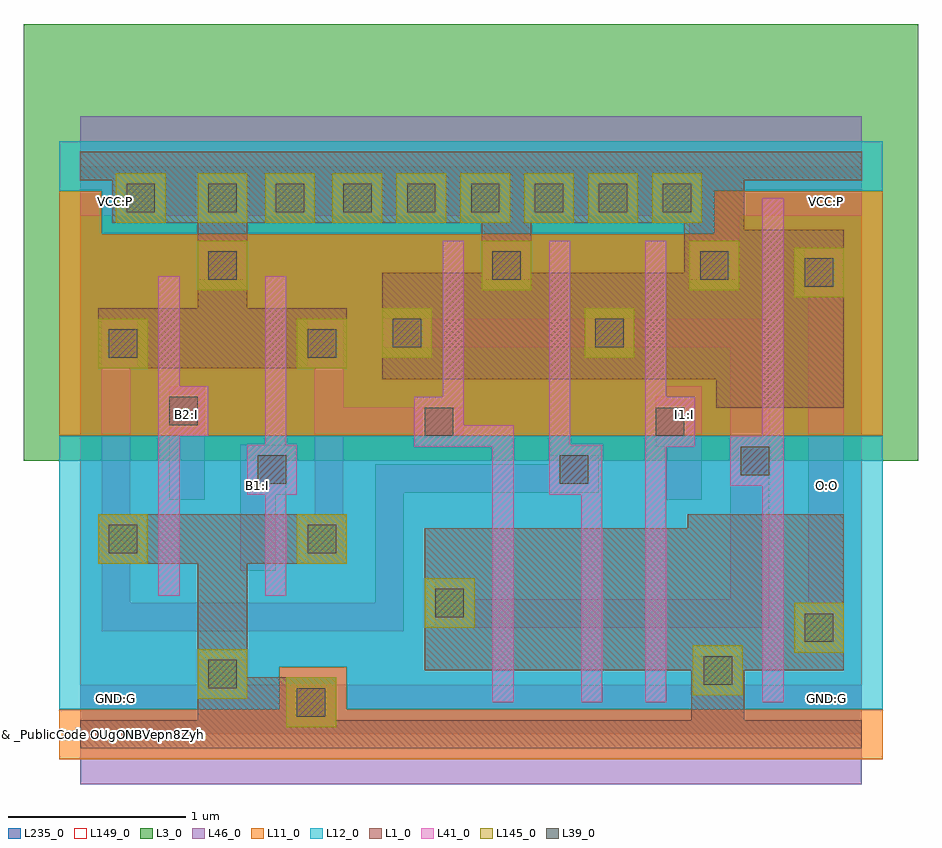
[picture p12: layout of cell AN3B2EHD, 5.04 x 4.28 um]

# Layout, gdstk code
from math import pi, radians
import gdstk
lib = gdstk.Library(unit=1e-6, precision=1e-09)
def R(c, l, rs):  # rectangles x0, y0, x1, y1
    for r in rs: c.add(gdstk.rectangle(r[:2], r[2:], *l))
def P(c, l, *ps):  # polygons
    for p in ps: c.add(gdstk.Polygon(p, *l))
L1_0 = (1, 0)
L3_0 = (3, 0)
L11_0 = (11, 0)
L12_0 = (12, 0)
L39_0 = (39, 0)
L41_0 = (41, 0)
L46_0 = (46, 0)
L145_0 = (145, 0)
L149_0 = (149, 0)
L235_0 = (235, 0)

c_pc = lib.new_cell('PC')
R(c_pc, L39_0, [(-0.08,-0.08,0.08,0.08)])
R(c_pc, L41_0, [(-0.14,-0.14,0.14,0.14)])
R(c_pc, L46_0, [(-0.08,-0.14,0.08,0.14)])

c_mc = lib.new_cell('MC')
R(c_mc, L39_0, [(-0.08,-0.08,0.08,0.08)])
R(c_mc, L46_0, [(-0.08,-0.14,0.08,0.14)])
R(c_mc, L145_0, [(-0.14,-0.14,0.14,0.14)])

khlenmfncog__41gum4xw0 = lib.new_cell('KHLENMFNCOG$$41Gum4XW0')
R(khlenmfncog__41gum4xw0, L1_0, [(0,-0.08,4.4,0.08), (0.94,0.08,1.44,0.32), (1.7,2,2.26,2.6), (0,3.12,4.4,3.28)])
P(khlenmfncog__41gum4xw0, L1_0, [(1.5,1.24),(0.66,1.24),(0.66,0.08),(0.94,0.08),(0.94,0.96),(1.5,0.96)],
  [(0.94,3.12),(0.66,3.12),(0.66,2.06),(1.5,2.06),(1.5,2.4),(0.94,2.4)],
  [(0.1,1.24),(0.94,1.24),(0.94,0.08),(0.66,0.08),(0.66,0.96),(0.1,0.96)],
  [(0.66,3.12),(0.94,3.12),(0.94,2.06),(0.1,2.06),(0.1,2.4),(0.66,2.4)],
  [(4.3,1.24),(3.42,1.24),(3.42,1.16),(1.94,1.16),(1.94,0.36),(3.44,0.36),(3.44,0.08),(3.74,0.08),(3.74,0.36),(4.3,0.36)],
  [(4.3,2.84),(3.74,2.84),(3.74,3.12),(3.4,3.12),(3.4,2.6),(2.54,2.6),(2.54,2.88),(3.4,2.88),(3.4,3.12),(0.18,3.12),(0.18,2.88),(2.26,2.88),(2.26,2),(3.58,2),(3.58,1.84),(4.3,1.84)])
R(khlenmfncog__41gum4xw0, L3_0, [(-0.32,1.54,4.72,4)])
R(khlenmfncog__41gum4xw0, L11_0, [(-0.12,-0.14,4.52,0.14), (-0.12,-0.14,4.52,0.14), (-0.12,-0.14,4.52,0.14), (1.12,0.14,1.5,0.38)])
P(khlenmfncog__41gum4xw0, L11_0, [(4.52,3.06),(3.57,3.06),(3.57,2.82),(0.12,2.82),(0.12,3.06),(-0.12,3.06),(-0.12,1.68),(4.52,1.68)])
P(khlenmfncog__41gum4xw0, L12_0, [(4.52,1.68),(-0.12,1.68),(-0.12,0.14),(1.12,0.14),(1.12,0.38),(1.5,0.38),(1.5,0.14),(4.52,0.14)],
  [(4.52,3.34),(-0.12,3.34),(-0.12,3.06),(0.12,3.06),(0.12,2.82),(3.57,2.82),(3.57,3.06),(4.52,3.06)])
R(khlenmfncog__41gum4xw0, L46_0, [(2,0.6,2.22,0.88), (3.66,0.76,3.8,2.18), (0.66,2.56,0.94,2.92), (2.26,2.56,2.54,2.92), (3.43,2.56,3.71,2.92)])
R(khlenmfncog__41gum4xw0, L149_0, [(0,0,4.4,3.2)])
R(khlenmfncog__41gum4xw0, L235_0, [(0,0,4.4,3.2), (0,0,4.4,3.2), (0,0,4.4,3.2), (0,0,4.4,3.2), (0,0,4.4,3.2), (0,0,4.4,3.2), (0,0,4.4,3.2), (0,0,4.4,3.2), (0,0,4.4,3.2), (0,0,4.4,3.2), (0,0,4.4,3.2), (0,0,4.4,3.2)])
khlenmfncog__41gum4xw0.add(gdstk.FlexPath([(0,0),(4.4,0)], 0.56, ends="flush", simple_path=True, layer=46, datatype=0))  # L46_0
khlenmfncog__41gum4xw0.add(gdstk.FlexPath([(0,3.2),(4.4,3.2)], 0.56, ends="flush", simple_path=True, layer=46, datatype=0))  # L46_0
khlenmfncog__41gum4xw0.add(gdstk.FlexPath([(2.92,1.44),(1.74,1.44),(1.74,0.66),(0.2,0.66),(0.2,1.24)], 0.16, ends="flush", simple_path=True, layer=46, datatype=0))  # L46_0
khlenmfncog__41gum4xw0.add(gdstk.FlexPath([(1,0.92),(1,1.63)], 0.2, ends="flush", simple_path=True, layer=46, datatype=0))  # L46_0
khlenmfncog__41gum4xw0.add(gdstk.FlexPath([(1.4,0.96),(1.4,2.34)], 0.16, ends="flush", simple_path=True, layer=46, datatype=0))  # L46_0
khlenmfncog__41gum4xw0.add(gdstk.FlexPath([(0.2,0.96),(0.2,2.34)], 0.16, ends="flush", simple_path=True, layer=46, datatype=0))  # L46_0
khlenmfncog__41gum4xw0.add(gdstk.FlexPath([(3.4,1.32),(3.4,1.96)], 0.2, ends="flush", simple_path=True, layer=46, datatype=0))  # L46_0
khlenmfncog__41gum4xw0.add(gdstk.FlexPath([(1.32,1.76),(2.16,1.76)], 0.16, ends="flush", simple_path=True, layer=46, datatype=0))  # L46_0
khlenmfncog__41gum4xw0.add(gdstk.FlexPath([(4.2,0.46),(4.2,2.74)], 0.2, ends="flush", simple_path=True, layer=46, datatype=0))  # L46_0
khlenmfncog__41gum4xw0.add(gdstk.FlexPath([(0.6,1.32),(0.6,1.96)], 0.2, ends="flush", simple_path=True, layer=46, datatype=0))  # L46_0
khlenmfncog__41gum4xw0.add(gdstk.FlexPath([(1.7,2.26),(3.8,2.26),(3.8,0.68),(2,0.68)], 0.16, ends="flush", simple_path=True, layer=46, datatype=0))  # L46_0
khlenmfncog__41gum4xw0.add(gdstk.FlexPath([(0.6,0),(0.6,3.2)], 0, ends="flush", simple_path=True, layer=145, datatype=0))  # L145_0
khlenmfncog__41gum4xw0.add(gdstk.FlexPath([(1,0),(1,3.2)], 0, ends="flush", simple_path=True, layer=145, datatype=0))  # L145_0
khlenmfncog__41gum4xw0.add(gdstk.FlexPath([(1.4,0),(1.4,3.2)], 0, ends="flush", simple_path=True, layer=145, datatype=0))  # L145_0
khlenmfncog__41gum4xw0.add(gdstk.FlexPath([(1.8,0),(1.8,3.2)], 0, ends="flush", simple_path=True, layer=145, datatype=0))  # L145_0
khlenmfncog__41gum4xw0.add(gdstk.FlexPath([(2.2,0),(2.2,3.2)], 0, ends="flush", simple_path=True, layer=145, datatype=0))  # L145_0
khlenmfncog__41gum4xw0.add(gdstk.FlexPath([(2.6,0),(2.6,3.2)], 0, ends="flush", simple_path=True, layer=145, datatype=0))  # L145_0
khlenmfncog__41gum4xw0.add(gdstk.FlexPath([(3,0),(3,3.2)], 0, ends="flush", simple_path=True, layer=145, datatype=0))  # L145_0
khlenmfncog__41gum4xw0.add(gdstk.FlexPath([(3.4,0),(3.4,3.2)], 0, ends="flush", simple_path=True, layer=145, datatype=0))  # L145_0
khlenmfncog__41gum4xw0.add(gdstk.FlexPath([(3.8,0),(3.8,3.2)], 0, ends="flush", simple_path=True, layer=145, datatype=0))  # L145_0
khlenmfncog__41gum4xw0.add(gdstk.FlexPath([(4.2,0),(4.2,3.2)], 0, ends="flush", simple_path=True, layer=145, datatype=0))  # L145_0
khlenmfncog__41gum4xw0.add(gdstk.FlexPath([(0,0.2),(4.4,0.2)], 0, ends="flush", simple_path=True, layer=145, datatype=0))  # L145_0
khlenmfncog__41gum4xw0.add(gdstk.FlexPath([(0,0.6),(4.4,0.6)], 0, ends="flush", simple_path=True, layer=145, datatype=0))  # L145_0
khlenmfncog__41gum4xw0.add(gdstk.FlexPath([(0,1),(4.4,1)], 0, ends="flush", simple_path=True, layer=145, datatype=0))  # L145_0
khlenmfncog__41gum4xw0.add(gdstk.FlexPath([(0,1.4),(4.4,1.4)], 0, ends="flush", simple_path=True, layer=145, datatype=0))  # L145_0
khlenmfncog__41gum4xw0.add(gdstk.FlexPath([(0,1.8),(4.4,1.8)], 0, ends="flush", simple_path=True, layer=145, datatype=0))  # L145_0
khlenmfncog__41gum4xw0.add(gdstk.FlexPath([(0,2.2),(4.4,2.2)], 0, ends="flush", simple_path=True, layer=145, datatype=0))  # L145_0
khlenmfncog__41gum4xw0.add(gdstk.FlexPath([(0,2.6),(4.4,2.6)], 0, ends="flush", simple_path=True, layer=145, datatype=0))  # L145_0
khlenmfncog__41gum4xw0.add(gdstk.FlexPath([(0,3),(4.4,3)], 0, ends="flush", simple_path=True, layer=145, datatype=0))  # L145_0
khlenmfncog__41gum4xw0.add(gdstk.FlexPath([(0.2,0),(0.2,3.2)], 0, ends="flush", simple_path=True, layer=145, datatype=0))  # L145_0
khlenmfncog__41gum4xw0.add(gdstk.FlexPath([(3.24,0.18),(3.24,2.78)], 0.12, ends="flush", simple_path=True, layer=41, datatype=0))  # L41_0
khlenmfncog__41gum4xw0.add(gdstk.FlexPath([(1.1,0.78),(1.1,2.58)], 0.12, ends="flush", simple_path=True, layer=41, datatype=0))  # L41_0
khlenmfncog__41gum4xw0.add(gdstk.FlexPath([(2.7,2.78),(2.7,1.57),(2.88,1.57),(2.88,0.18)], 0.12, ends="flush", simple_path=True, layer=41, datatype=0))  # L41_0
khlenmfncog__41gum4xw0.add(gdstk.FlexPath([(2.1,2.78),(2.1,1.68),(2.38,1.68),(2.38,0.18)], 0.12, ends="flush", simple_path=True, layer=41, datatype=0))  # L41_0
khlenmfncog__41gum4xw0.add(gdstk.FlexPath([(0.5,0.78),(0.5,2.58)], 0.12, ends="flush", simple_path=True, layer=41, datatype=0))  # L41_0
khlenmfncog__41gum4xw0.add(gdstk.FlexPath([(3.9,0.18),(3.9,3.02)], 0.12, ends="flush", simple_path=True, layer=41, datatype=0))  # L41_0
r = gdstk.Reference(c_pc, (2.78,1.49), rotation=pi/2); r.repetition = gdstk.Repetition(1, 1, v1=(0,0.28), v2=(-0.32,0)); khlenmfncog__41gum4xw0.add(r)
r = gdstk.Reference(c_pc, (3.8,1.54)); r.repetition = gdstk.Repetition(1, 1, v1=(0.28,0), v2=(0,0.32)); khlenmfncog__41gum4xw0.add(r)
r = gdstk.Reference(c_pc, (0.58,1.82)); r.repetition = gdstk.Repetition(1, 1, v1=(0.28,0), v2=(0,0.32)); khlenmfncog__41gum4xw0.add(r)
r = gdstk.Reference(c_pc, (2.02,1.76), rotation=pi/2); r.repetition = gdstk.Repetition(1, 1, v1=(0,0.28), v2=(-0.32,0)); khlenmfncog__41gum4xw0.add(r)
r = gdstk.Reference(c_pc, (1.08,1.49)); r.repetition = gdstk.Repetition(1, 1, v1=(0.28,0), v2=(0,0.32)); khlenmfncog__41gum4xw0.add(r)
r = gdstk.Reference(c_pc, (3.32,1.76)); r.repetition = gdstk.Repetition(1, 1, v1=(0.28,0), v2=(0,0.32)); khlenmfncog__41gum4xw0.add(r)
r = gdstk.Reference(c_mc, (4.16,2.6)); r.repetition = gdstk.Repetition(1, 1, v1=(0.28,0), v2=(0,0.32)); khlenmfncog__41gum4xw0.add(r)
r = gdstk.Reference(c_mc, (3,3.02), rotation=pi/2); r.repetition = gdstk.Repetition(1, 1, v1=(0,0.28), v2=(-0.32,0)); khlenmfncog__41gum4xw0.add(r)
r = gdstk.Reference(c_mc, (2.08,0.74)); r.repetition = gdstk.Repetition(1, 1, v1=(0.28,0), v2=(0,0.32)); khlenmfncog__41gum4xw0.add(r)
r = gdstk.Reference(c_mc, (4.16,0.6)); r.repetition = gdstk.Repetition(1, 1, v1=(0.28,0), v2=(0,0.32)); khlenmfncog__41gum4xw0.add(r)
r = gdstk.Reference(c_mc, (3.59,0.36), rotation=pi/2); r.repetition = gdstk.Repetition(1, 1, v1=(0,0.28), v2=(-0.32,0)); khlenmfncog__41gum4xw0.add(r)
r = gdstk.Reference(c_mc, (3.57,2.64), rotation=pi/2); r.repetition = gdstk.Repetition(1, 1, v1=(0,0.28), v2=(-0.32,0)); khlenmfncog__41gum4xw0.add(r)
r = gdstk.Reference(c_mc, (1.84,2.26), rotation=pi/2); r.repetition = gdstk.Repetition(1, 1, v1=(0,0.28), v2=(-0.32,0)); khlenmfncog__41gum4xw0.add(r)
r = gdstk.Reference(c_mc, (2.4,2.64), rotation=pi/2); r.repetition = gdstk.Repetition(1, 1, v1=(0,0.28), v2=(-0.32,0)); khlenmfncog__41gum4xw0.add(r)
r = gdstk.Reference(c_mc, (1.92,3.02), rotation=pi/2); r.repetition = gdstk.Repetition(1, 1, v1=(0,0.28), v2=(-0.32,0)); khlenmfncog__41gum4xw0.add(r)
r = gdstk.Reference(c_mc, (0.24,2.2), rotation=pi, x_reflection=True); r.repetition = gdstk.Repetition(1, 1, v1=(-0.28,0), v2=(0,0.32)); khlenmfncog__41gum4xw0.add(r)
r = gdstk.Reference(c_mc, (3.36,3.02), rotation=pi/2); r.repetition = gdstk.Repetition(1, 1, v1=(0,0.28), v2=(-0.32,0)); khlenmfncog__41gum4xw0.add(r)
r = gdstk.Reference(c_mc, (2.64,3.02), rotation=pi/2); r.repetition = gdstk.Repetition(1, 1, v1=(0,0.28), v2=(-0.32,0)); khlenmfncog__41gum4xw0.add(r)
r = gdstk.Reference(c_mc, (0.24,1.1), rotation=pi, x_reflection=True); r.repetition = gdstk.Repetition(1, 1, v1=(-0.28,0), v2=(0,0.32)); khlenmfncog__41gum4xw0.add(r)
r = gdstk.Reference(c_mc, (2.28,3.02), rotation=pi/2); r.repetition = gdstk.Repetition(1, 1, v1=(0,0.28), v2=(-0.32,0)); khlenmfncog__41gum4xw0.add(r)
r = gdstk.Reference(c_mc, (0.34,3.02), rotation=pi/2); r.repetition = gdstk.Repetition(1, 1, v1=(0,0.28), v2=(-0.32,0)); khlenmfncog__41gum4xw0.add(r)
r = gdstk.Reference(c_mc, (1.18,3.02), rotation=pi/2); r.repetition = gdstk.Repetition(1, 1, v1=(0,0.28), v2=(-0.32,0)); khlenmfncog__41gum4xw0.add(r)
r = gdstk.Reference(c_mc, (1.36,1.1)); r.repetition = gdstk.Repetition(1, 1, v1=(0.28,0), v2=(0,0.32)); khlenmfncog__41gum4xw0.add(r)
r = gdstk.Reference(c_mc, (1.36,2.2)); r.repetition = gdstk.Repetition(1, 1, v1=(0.28,0), v2=(0,0.32)); khlenmfncog__41gum4xw0.add(r)
r = gdstk.Reference(c_mc, (0.8,3.02), rotation=pi/2); r.repetition = gdstk.Repetition(1, 1, v1=(0,0.28), v2=(-0.32,0)); khlenmfncog__41gum4xw0.add(r)
r = gdstk.Reference(c_mc, (0.8,2.64), rotation=pi/2); r.repetition = gdstk.Repetition(1, 1, v1=(0,0.28), v2=(-0.32,0)); khlenmfncog__41gum4xw0.add(r)
r = gdstk.Reference(c_mc, (0.8,0.34), rotation=pi/2); r.repetition = gdstk.Repetition(1, 1, v1=(0,0.28), v2=(-0.32,0)); khlenmfncog__41gum4xw0.add(r)
r = gdstk.Reference(c_mc, (1.3,0.18), rotation=pi/2); r.repetition = gdstk.Repetition(1, 1, v1=(0,0.28), v2=(-0.32,0)); khlenmfncog__41gum4xw0.add(r)
r = gdstk.Reference(c_mc, (1.56,3.02), rotation=pi/2); r.repetition = gdstk.Repetition(1, 1, v1=(0,0.28), v2=(-0.32,0)); khlenmfncog__41gum4xw0.add(r)
r = gdstk.Reference(c_mc, (2.98,2.26), rotation=pi/2); r.repetition = gdstk.Repetition(1, 1, v1=(0,0.28), v2=(-0.32,0)); khlenmfncog__41gum4xw0.add(r)
khlenmfncog__41gum4xw0.add(gdstk.Label('#Id:7JQJaQKD4XF6RXVVNbbWNLABMd97ZLCaK99JL0306AKC574T4A3EOSP8MXXWHY99T6WBH22210RAL9', (0.02,0.02), layer=147, texttype=0))
khlenmfncog__41gum4xw0.add(gdstk.Label('AN3B2EHD', (0,0), layer=144, texttype=0))
khlenmfncog__41gum4xw0.add(gdstk.Label('VCC:P', (0.2,3), layer=101, texttype=0))
khlenmfncog__41gum4xw0.add(gdstk.Label('VCC:P', (4.2,3), layer=101, texttype=0))
khlenmfncog__41gum4xw0.add(gdstk.Label('GND:G', (0.2,0.2), layer=101, texttype=0))
khlenmfncog__41gum4xw0.add(gdstk.Label('GND:G', (4.2,0.2), layer=101, texttype=0))
khlenmfncog__41gum4xw0.add(gdstk.Label('B1:I', (1,1.4), layer=101, texttype=0))
khlenmfncog__41gum4xw0.add(gdstk.Label('O:O', (4.2,1.4), layer=101, texttype=0))
khlenmfncog__41gum4xw0.add(gdstk.Label('I1:I', (3.4,1.8), layer=101, texttype=0))
khlenmfncog__41gum4xw0.add(gdstk.Label('B2:I', (0.6,1.8), layer=101, texttype=0))

an3b2ehd = lib.new_cell('AN3B2EHD')
R(an3b2ehd, L149_0, [(0,0,4.4,3.2)])
an3b2ehd.add(gdstk.Reference(khlenmfncog__41gum4xw0, (0,0)))
an3b2ehd.add(gdstk.Label('& _PublicCode OUgONBVepn8Zyhuhb7nzKSFGv0ozQ4p7', (0,0), layer=3, texttype=0))
an3b2ehd.add(gdstk.Label('& Metric 14.08', (0,0), layer=3, texttype=0))
an3b2ehd.add(gdstk.Label('& Version 2009Q1V3.0', (0,0), layer=3, texttype=0))
an3b2ehd.add(gdstk.Label('& Product FSC0H_D_GENERIC_CORE', (0,0), layer=3, texttype=0))
an3b2ehd.add(gdstk.Label('& Vendor Faraday_Technology_Corp.', (0,0), layer=3, texttype=0))
an3b2ehd.add(gdstk.Label('#Id:7JQJaQKD4XF6RXVVNbbWNLABMd97ZLCaK99JL0306AKC574T4A3EOSP8MXXWHY99T6WBH22210RAL9', (0.02,0.02), layer=147, texttype=0))
an3b2ehd.add(gdstk.Label('AN3B2EHD', (0,0), layer=144, texttype=0))
an3b2ehd.add(gdstk.Label('VCC:P', (0.2,3), layer=101, texttype=0))
an3b2ehd.add(gdstk.Label('VCC:P', (4.2,3), layer=101, texttype=0))
an3b2ehd.add(gdstk.Label('GND:G', (0.2,0.2), layer=101, texttype=0))
an3b2ehd.add(gdstk.Label('GND:G', (4.2,0.2), layer=101, texttype=0))
an3b2ehd.add(gdstk.Label('B1:I', (1,1.4), layer=101, texttype=0))
an3b2ehd.add(gdstk.Label('O:O', (4.2,1.4), layer=101, texttype=0))
an3b2ehd.add(gdstk.Label('I1:I', (3.4,1.8), layer=101, texttype=0))
an3b2ehd.add(gdstk.Label('B2:I', (0.6,1.8), layer=101, texttype=0))

lib.write_gds('AN3B2EHD.gds')
